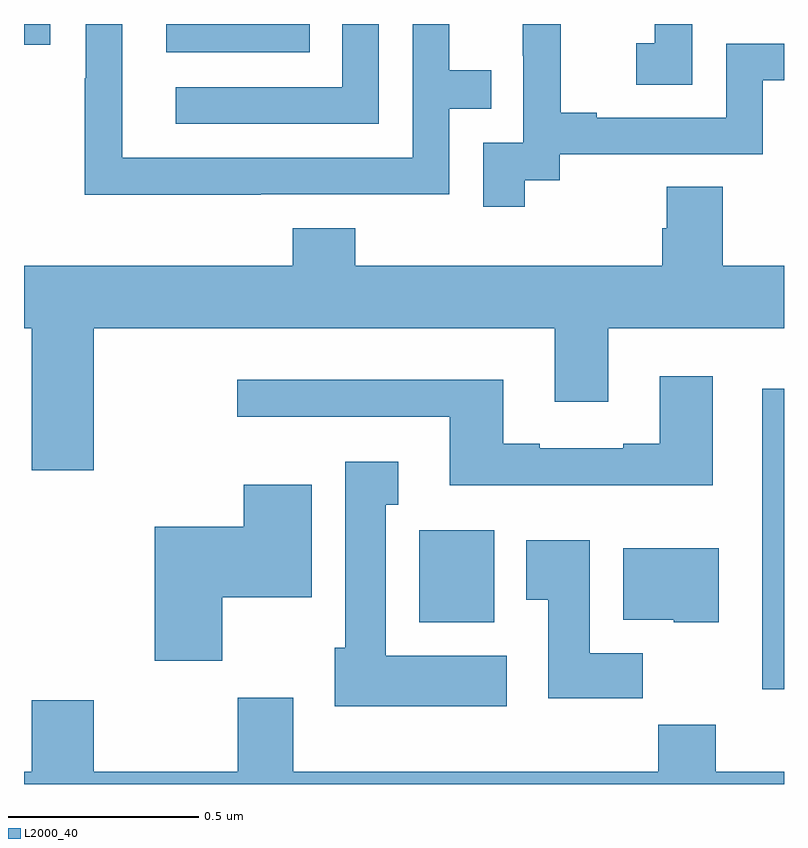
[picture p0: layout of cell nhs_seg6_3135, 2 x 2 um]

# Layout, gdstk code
import gdstk
lib = gdstk.Library(unit=1e-6, precision=1e-09)
def R(c, l, rs):  # rectangles x0, y0, x1, y1
    for r in rs: c.add(gdstk.rectangle(r[:2], r[2:], *l))
def P(c, l, *ps):  # polygons
    for p in ps: c.add(gdstk.Polygon(p, *l))
L2000_40 = (2000, 40)

nhs_seg6_3135 = lib.new_cell('nhs_seg6_3135')
R(nhs_seg6_3135, L2000_40, [(154.943,915.749,155,916.54), (154.04,915.926,154.237,916.168), (153.374,917.426,153.752,917.5), (153,917.445,153.069,917.5)])
P(nhs_seg6_3135, L2000_40, [(153.623,917.052),(154.119,917.052),(154.119,917.277),(154.229,917.277),(154.229,917.378),(154.119,917.378),(154.119,917.5),(154.023,917.5),(154.023,917.148),(153.258,917.148),(153.258,917.5),(153.162,917.5),(153.162,917.357),(153.16,917.357),(153.16,917.051),(153.623,917.051)],
  [(154.318,917.089),(154.41,917.089),(154.41,917.157),(154.944,917.157),(154.944,917.352),(155,917.352),(155,917.448),(154.848,917.448),(154.848,917.253),(154.507,917.253),(154.507,917.266),(154.412,917.266),(154.412,917.5),(154.313,917.5),(154.313,917.417),(154.314,917.417),(154.314,917.187),(154.209,917.187),(154.209,917.019),(154.318,917.019)],
  [(154.758,917.5),(154.66,917.5),(154.66,917.449),(154.611,917.449),(154.611,917.34),(154.758,917.34)],
  [(153.933,917.5),(153.837,917.5),(153.837,917.334),(153.399,917.334),(153.399,917.238),(153.933,917.238)],
  [(153.184,916.7),(154.397,916.7),(154.397,916.506),(154.537,916.506),(154.537,916.7),(155,916.7),(155,916.864),(154.839,916.864),(154.839,917.072),(154.691,917.072),(154.691,916.962),(154.679,916.962),(154.679,916.864),(153.872,916.864),(153.872,916.963),(153.707,916.963),(153.707,916.864),(153,916.864),(153,916.7),(153.02,916.7),(153.02,916.326),(153.184,916.326)],
  [(154.813,916.573),(154.673,916.573),(154.673,916.396),(154.577,916.396),(154.577,916.383),(154.357,916.383),(154.357,916.396),(154.261,916.396),(154.261,916.564),(153.561,916.564),(153.561,916.467),(154.121,916.467),(154.121,916.286),(154.813,916.286)],
  [(154.27,915.838),(153.952,915.838),(153.952,916.235),(153.985,916.235),(153.985,916.348),(153.845,916.348),(153.845,915.858),(153.818,915.858),(153.818,915.704),(154.27,915.704)],
  [(153.522,915.992),(153.757,915.992),(153.757,916.288),(153.578,916.288),(153.578,916.177),(153.344,916.177),(153.344,915.825),(153.522,915.825)],
  [(154.628,915.844),(154.489,915.844),(154.489,916.141),(154.322,916.141),(154.322,915.985),(154.379,915.985),(154.379,915.726),(154.628,915.726)],
  [(154.828,916.12),(154.577,916.12),(154.577,915.932),(154.71,915.932),(154.71,915.926),(154.828,915.926)],
  [(155,915.532),(154.821,915.532),(154.821,915.656),(154.669,915.656),(154.669,915.532),(153.709,915.532),(153.709,915.727),(153.562,915.727),(153.562,915.532),(153.184,915.532),(153.184,915.721),(153.02,915.721),(153.02,915.532),(153,915.532),(153,915.5),(155,915.5)])

lib.write_gds('nhs_seg6_3135.gds')
